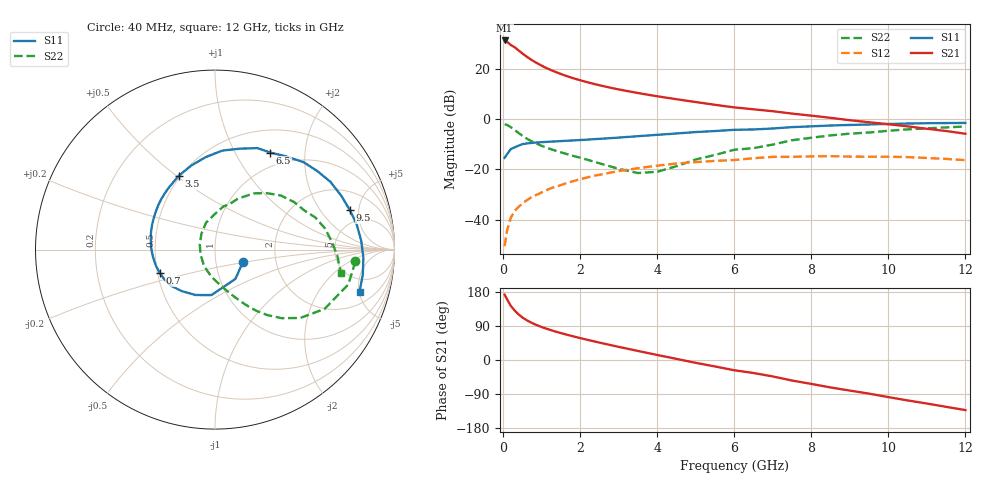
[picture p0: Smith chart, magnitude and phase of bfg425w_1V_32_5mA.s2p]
! Filename: 132bfg425.001
! BFG425W Field C1
! V1=8.907E-001V,V2=1.000E+000V, I1=5.288E-004A, I2=3.253E-002A
# GHz  S  MA  R 50
!  S11  S21  S12  S22
!Freq(GHz)  Mag  Ang  Mag  Ang  Mag  Ang  Mag  Ang
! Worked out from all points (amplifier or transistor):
!   44 points, 40 MHz to 12 GHz, reference 50 ohm
!   highest |S21| = 31.2 dB at 40 MHz (marker M1)
!   |S21| within 3 dB of that: start of sweep to 325.7 MHz
!   unconditionally stable (mu >= 1): start of sweep to 94.4 MHz; 717.5 MHz to end of sweep
!   at 700 MHz: K = 0.99, MSG = 27.6 dB, |S12| = -31.4 dB
!   at 2.4 GHz: K = 1.26, MAG = 15.1 dB, |S12| = -22.4 dB
!   at 12 GHz: K = 1.43, MAG = 1.3 dB, |S12| = -16.3 dB
!   S11 on the Smith chart (normalised r, x): 40 MHz: 1.35, -0.20; 700 MHz: 0.51, -0.15; 3.5 GHz: 0.49, +0.51; 6.5 GHz: 0.79, +1.40; 9.5 GHz: 3.51, +3.99; 12 GHz: 3.21, -5.06
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0.04  0.17 -24.8  36.42 172.5  0.003 72.4  0.785 -4.8
0.1  0.199 -55.0  34.55 160.7  0.006 78.8  0.768 -14.6
0.2  0.254 -94.5  29.6 143.1  0.011 70.9  0.694 -28.4
0.3  0.275 -113.0  26.76 130.8  0.015 67.2  0.609 -38.7
0.4  0.296 -128.5  23.16 120.5  0.018 64.2  0.532 -45.9
0.5  0.318 -140.7  20.13 112.3  0.021 62.4  0.468 -51.3
0.6  0.327 -149.7  17.66 105.8  0.024 61.6  0.418 -55.4
0.7  0.334 -157.1  15.63 100.3  0.027 60.8  0.377 -58.8
0.8  0.34 -163.4  14 95.4  0.03 60.3  0.344 -61.6
0.9  0.344 -168.8  12.66 91.1  0.032 59.8  0.317 -64.0
1.2  0.356 178.1  9.728 80.2  0.041 57.6  0.259 -70.9
1.4  0.362 170.9  8.405 74.0  0.046 55.9  0.231 -75.2
1.7  0.373 161.2  6.95 65.6  0.055 52.8  0.198 -82.0
2.2  0.392 147.3  5.362 53.0  0.07 46.7  0.155 -95.8
2.8  0.419 132.3  4.178 39.2  0.087 38.3  0.114 -118.5
3.5  0.458 116.3  3.293 23.9  0.106 27.6  0.085 -161.2
4.5  0.518 95.7  2.483 3.0  0.131 11.5  0.116 130.8
6.5  0.622 60.4  1.565 -34.3  0.167 -18.0  0.265 72.5
8.5  0.746 30.4  1.06 -72.4  0.184 -53.7  0.475 39.4
9.5  0.783 16.3  0.866 -88.7  0.179 -69.3  0.542 23.9
10.5  0.816 3.5  0.718 -106.7  0.176 -86.5  0.625 10.8
12  0.839 -16.2  0.512 -132.2  0.153 -113.8  0.713 -10.5
